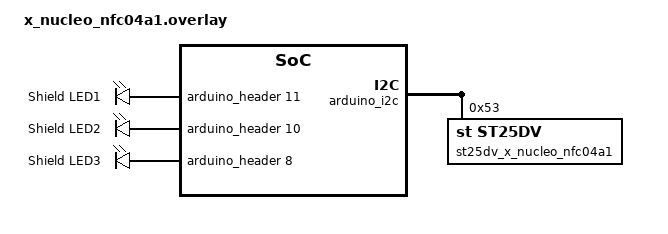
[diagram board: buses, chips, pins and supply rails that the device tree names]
/*
 * Copyright (c) 2023 Kickmaker
 *
 * SPDX-License-Identifier: Apache-2.0
 */

/ {
	aliases {
		eeprom-0 = &st25dv_x_nucleo_nfc04a1;
		shield-green-led1 = &shield_green_led1;
		shield-blue-led2 = &shield_blue_led2;
		shield-yellow-led3 = &shield_yellow_led3;
	};

	leds: leds {
		compatible = "gpio-leds";
		shield_green_led1: shield_green_led_1 {
			gpios = <&arduino_header 11 GPIO_ACTIVE_HIGH>;	/* D5 */
			label = "Shield LED1";
		};
		shield_blue_led2: shield_blue_led_2 {
			gpios = <&arduino_header 10 GPIO_ACTIVE_HIGH>;	/* D4 */
			label = "Shield LED2";
		};
		shield_yellow_led3: shield_yellow_led_3 {
			gpios = <&arduino_header 8 GPIO_ACTIVE_HIGH>;	/* D2 */
			label = "Shield LED3";
		};
	};
};

&arduino_i2c {
	status="okay";

	st25dv_x_nucleo_nfc04a1: eeprom@53 {
		compatible = "st,st25dv";
		reg = <0x53>;
		status = "okay";
		size = <DT_SIZE_K(4)>;
	};
};
